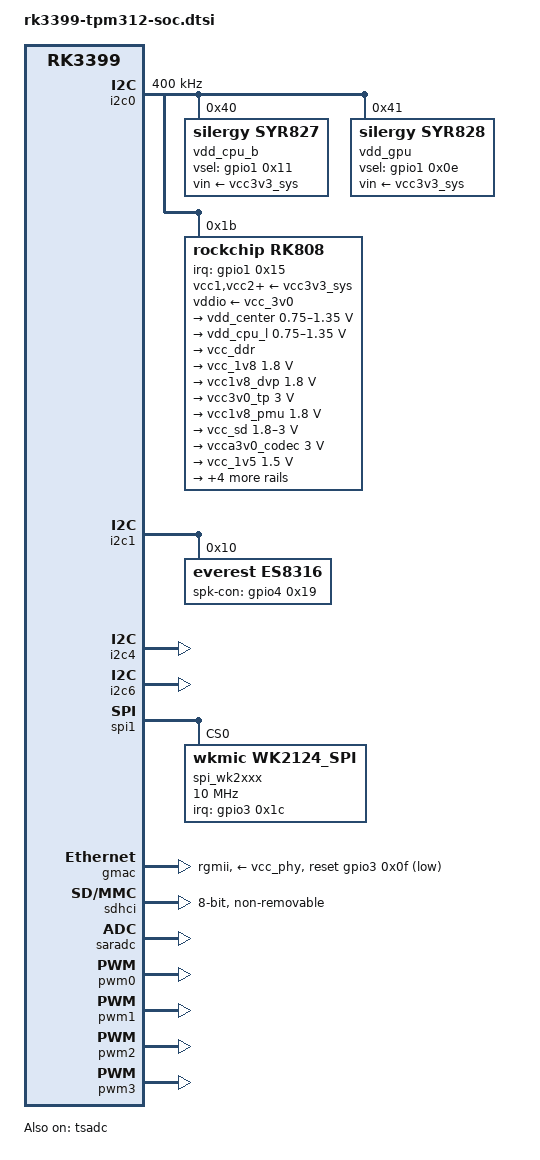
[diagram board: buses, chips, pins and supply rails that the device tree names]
/* Converted from production firmware DTB /i2c@ff3c0000 */
&i2c0 {
	pinctrl-names = "default";
	pinctrl-0 = <&i2c0_xfer>;
	#address-cells = <0x01>;
	#size-cells = <0x00>;
	status = "okay";
	i2c-scl-rising-time-ns = <0xa8>;
	i2c-scl-falling-time-ns = <0x04>;
	clock-frequency = <0x61a80>;
	vdd_cpu_b: syr827@40 {
		compatible = "silergy,syr827";
		reg = <0x40>;
		pinctrl-names = "default";
		pinctrl-0 = <&vsel1_pin>;
		vsel-gpios = <&gpio1 0x11 0x00>;
		regulator-name = "vdd_cpu_b";
		regulator-min-microvolt = <0xadf34>;
		regulator-max-microvolt = <0x16e360>;
		regulator-ramp-delay = <0x3e8>;
		fcs,suspend-voltage-selector = <0x01>;
		regulator-always-on;
		regulator-boot-on;
		vin-supply = <&vcc3v3_sys>;
		regulator-initial-state = <0x03>;
		regulator-state-mem {
			regulator-off-in-suspend;
		};
	};
	vdd_gpu: syr828@41 {
		compatible = "silergy,syr828";
		reg = <0x41>;
		pinctrl-names = "default";
		pinctrl-0 = <&vsel2_pin>;
		vsel-gpios = <&gpio1 0x0e 0x00>;
		regulator-name = "vdd_gpu";
		regulator-min-microvolt = <0xadf34>;
		regulator-max-microvolt = <0x16e360>;
		regulator-ramp-delay = <0x3e8>;
		fcs,suspend-voltage-selector = <0x01>;
		regulator-always-on;
		regulator-boot-on;
		vin-supply = <&vcc3v3_sys>;
		regulator-initial-state = <0x03>;
		regulator-state-mem {
			regulator-off-in-suspend;
		};
	};
	rk808: pmic@1b {
		compatible = "rockchip,rk808";
		reg = <0x1b>;
		interrupt-parent = <&gpio1>;
		interrupts = <0x15 0x08>;
		pinctrl-names = "default";
		pinctrl-0 = <&pmic_int_l &pmic_dvs2>;
		rockchip,system-power-controller;
		wakeup-source;
		#clock-cells = <0x01>;
		clock-output-names = "xin32k", "rk808-clkout2";
		vcc1-supply = <&vcc3v3_sys>;
		vcc2-supply = <&vcc3v3_sys>;
		vcc3-supply = <&vcc3v3_sys>;
		vcc4-supply = <&vcc3v3_sys>;
		vcc6-supply = <&vcc3v3_sys>;
		vcc7-supply = <&vcc3v3_sys>;
		vcc8-supply = <&vcc3v3_sys>;
		vcc9-supply = <&vcc3v3_sys>;
		vcc10-supply = <&vcc3v3_sys>;
		vcc11-supply = <&vcc3v3_sys>;
		vcc12-supply = <&vcc3v3_sys>;
		vddio-supply = <&vcc_3v0>;
		regulators {
			vdd_center: DCDC_REG1 {
				regulator-name = "vdd_center";
				regulator-min-microvolt = <0xb71b0>;
				regulator-max-microvolt = <0x149970>;
				regulator-ramp-delay = <0x1771>;
				regulator-always-on;
				regulator-boot-on;
				regulator-state-mem {
					regulator-off-in-suspend;
				};
			};
			vdd_cpu_l: DCDC_REG2 {
				regulator-name = "vdd_cpu_l";
				regulator-min-microvolt = <0xb71b0>;
				regulator-max-microvolt = <0x149970>;
				regulator-ramp-delay = <0x1771>;
				regulator-always-on;
				regulator-boot-on;
				regulator-state-mem {
					regulator-off-in-suspend;
				};
			};
			vcc_ddr: DCDC_REG3 {
				regulator-name = "vcc_ddr";
				regulator-always-on;
				regulator-boot-on;
				regulator-state-mem {
					regulator-on-in-suspend;
				};
			};
			vcc_1v8: DCDC_REG4 {
				regulator-name = "vcc_1v8";
				regulator-min-microvolt = <0x1b7740>;
				regulator-max-microvolt = <0x1b7740>;
				regulator-always-on;
				regulator-boot-on;
				regulator-state-mem {
					regulator-on-in-suspend;
					regulator-suspend-microvolt = <0x1b7740>;
				};
			};
			vcc1v8_dvp: LDO_REG1 {
				regulator-name = "vcc1v8_dvp";
				regulator-min-microvolt = <0x1b7740>;
				regulator-max-microvolt = <0x1b7740>;
				regulator-always-on;
				regulator-boot-on;
				regulator-state-mem {
					regulator-on-in-suspend;
				};
			};
			vcc3v0_tp: LDO_REG2 {
				regulator-name = "vcc3v0_tp";
				regulator-min-microvolt = <0x2dc6c0>;
				regulator-max-microvolt = <0x2dc6c0>;
				regulator-always-on;
				regulator-boot-on;
				regulator-state-mem {
					regulator-off-in-suspend;
				};
			};
			vcc1v8_pmu: LDO_REG3 {
				regulator-name = "vcc1v8_pmu";
				regulator-min-microvolt = <0x1b7740>;
				regulator-max-microvolt = <0x1b7740>;
				regulator-always-on;
				regulator-boot-on;
				regulator-state-mem {
					regulator-on-in-suspend;
					regulator-suspend-microvolt = <0x1b7740>;
				};
			};
			vcc_sd: LDO_REG4 {
				regulator-name = "vcc_sd";
				regulator-min-microvolt = <0x1b7740>;
				regulator-max-microvolt = <0x2dc6c0>;
				regulator-always-on;
				regulator-boot-on;
				regulator-state-mem {
					regulator-on-in-suspend;
					regulator-suspend-microvolt = <0x2dc6c0>;
				};
			};
			vcca3v0_codec: LDO_REG5 {
				regulator-name = "vcca3v0_codec";
				regulator-min-microvolt = <0x2dc6c0>;
				regulator-max-microvolt = <0x2dc6c0>;
				regulator-always-on;
				regulator-boot-on;
				regulator-state-mem {
					regulator-off-in-suspend;
				};
			};
			vcc_1v5: LDO_REG6 {
				regulator-name = "vcc_1v5";
				regulator-min-microvolt = <0x16e360>;
				regulator-max-microvolt = <0x16e360>;
				regulator-always-on;
				regulator-boot-on;
				regulator-state-mem {
					regulator-on-in-suspend;
					regulator-suspend-microvolt = <0x16e360>;
				};
			};
			vcca1v8_codec: LDO_REG7 {
				regulator-name = "vcca1v8_codec";
				regulator-min-microvolt = <0x1b7740>;
				regulator-max-microvolt = <0x1b7740>;
				regulator-always-on;
				regulator-boot-on;
				regulator-state-mem {
					regulator-off-in-suspend;
				};
			};
			vcc_3v0: LDO_REG8 {
				regulator-name = "vcc_3v0";
				regulator-min-microvolt = <0x2dc6c0>;
				regulator-max-microvolt = <0x2dc6c0>;
				regulator-always-on;
				regulator-boot-on;
				regulator-state-mem {
					regulator-on-in-suspend;
					regulator-suspend-microvolt = <0x2dc6c0>;
				};
			};
			vcc3v3_s3: SWITCH_REG1 {
				regulator-name = "vcc3v3_s3";
				regulator-always-on;
				regulator-boot-on;
				regulator-state-mem {
					regulator-off-in-suspend;
				};
			};
			vcc3v3_s0: SWITCH_REG2 {
				regulator-name = "vcc3v3_s0";
				regulator-always-on;
				regulator-boot-on;
				regulator-state-mem {
					regulator-off-in-suspend;
				};
			};
		};
		rtc {
			rkrtc: rk808-rtc {
				status = "okay";
			};
		};
	};
};

/* Converted from production firmware DTB /i2c@ff110000 */
&i2c1 {
	pinctrl-names = "default";
	pinctrl-0 = <&i2c1_xfer>;
	#address-cells = <0x01>;
	#size-cells = <0x00>;
	status = "okay";
	i2c-scl-rising-time-ns = <0x12c>;
	i2c-scl-falling-time-ns = <0x0f>;
	es8316: codec@10 {
		#sound-dai-cells = <0x00>;
		compatible = "everest,es8316";
		reg = <0x10>;
		clocks = <&cru 0x59>;
		clock-names = "mclk";
		pinctrl-names = "default";
		pinctrl-0 = <&i2s_8ch_mclk>;
		spk-con-gpio = <&gpio4 0x19 0x00>;
	};
};

/* Converted from production firmware DTB /i2c@ff3d0000 */
&i2c4 {
	pinctrl-names = "default";
	pinctrl-0 = <&i2c4_xfer>;
	#address-cells = <0x01>;
	#size-cells = <0x00>;
	status = "okay";
	i2c-scl-rising-time-ns = <0x258>;
	i2c-scl-falling-time-ns = <0x14>;
	mpu6500@68 {
		status = "disabled";
		compatible = "invensense,mpu6500";
		reg = <0x68>;
		irq-gpio = <&gpio1 0x16 0x01>;
		mpu-int_config = <0x10>;
		mpu-level_shifter = <0x00>;
		mpu-orientation = <0x00 0x01 0x00 0x01 0x00 0x00 0x00 0x00 0x01>;
		orientation-x = <0x01>;
		orientation-y = <0x00>;
		orientation-z = <0x00>;
		mpu-debug = <0x01>;
	};
};

/* Converted from production firmware DTB /i2c@ff150000 */
&i2c6 {
	pinctrl-names = "default";
	pinctrl-0 = <&i2c6_xfer>;
	#address-cells = <0x01>;
	#size-cells = <0x00>;
	status = "okay";
};

/* Converted from production firmware DTB /i2c@ff3e0000
 * Disabled: i2c8 uses GPIO1_C4/C5 (i2c8_xfer) and GPIO1_C5 is the rk808
 * PMIC interrupt line (see &i2c0/rk808). The touch panel is not used on
 * this box, so keep the bus off to leave C5 to the PMIC. */
&i2c8 {
	pinctrl-names = "default";
	pinctrl-0 = <&i2c8_xfer>;
	#address-cells = <0x01>;
	#size-cells = <0x00>;
	status = "disabled";
	ilitek@41 {
		compatible = "tchip,ilitek";
		reg = <0x41>;
		vdd-supply = <&vcc3v0_tp>;
		vcc_i2c-supply = <&vcc_3v0>;
		ilitek,irq-gpio = <&gpio1 0x12 0x00>;
		ilitek,reset-gpio = <&gpio1 0x18 0x00>;
		ilitek,vbus = "vcc_i2c";
		ilitek,vdd = "vdd";
		ilitek,name = "ilitek_i2c";
	};
};

/* Converted from production firmware DTB /spi@ff1d0000 */
&spi1 {
	pinctrl-names = "default";
	pinctrl-0 = <&spi1_clk &spi1_tx &spi1_rx &spi1_cs0>;
	#address-cells = <0x01>;
	#size-cells = <0x00>;
	status = "okay";
	max-freq = <0x2dc6c00>;
	spi_wk2xxx@0 {
		status = "okay";
		compatible = "wkmic,wk2124_spi";
		reg = <0x00>;
		spi-max-frequency = <0x989680>;
		poll_mode = <0x00>;
		type = <0x00>;
		enable_dma = <0x00>;
		irq-gpio = <&gpio3 0x1c 0x04>;
		pinctrl-names = "default";
		pinctrl-0 = <&wk2_irq>;
	};
};

/* Converted from production firmware DTB /ethernet@fe300000 */
&gmac {
	status = "okay";
	assigned-clocks = <&cru 0xa6>;
	assigned-clock-parents = <&clkin_gmac>;
	clock_in_out = "input";
	phy-supply = <&vcc_phy>;
	phy-mode = "rgmii";
	pinctrl-names = "default";
	pinctrl-0 = <&rgmii_pins>;
	snps,reset-gpio = <&gpio3 0x0f 0x01>;
	snps,reset-active-low;
	snps,reset-delays-us = <0x00 0x2710 0xc350>;
	tx_delay = <0x28>;
	rx_delay = <0x11>;
};

/* Converted from production firmware DTB /sdhci@fe330000 */
&sdhci {
	assigned-clocks = <&cru 0x4e>;
	assigned-clock-rates = <0xbebc200>;
	status = "okay";
	assigned-clock-parents = <&cru 0x05>;
	bus-width = <0x08>;
	mmc-hs400-1_8v;
	mmc-hs400-enhanced-strobe;
	supports-emmc;
	non-removable;
	keep-power-in-suspend;
};

/* Converted from production firmware DTB /saradc@ff100000 */
&saradc {
	#io-channel-cells = <0x01>;
	status = "okay";
};

/* Converted from production firmware DTB /tsadc@ff260000 */
&tsadc {
	assigned-clocks = <&cru 0x4f>;
	assigned-clock-rates = <0xb71b0>;
	rockchip,hw-tshut-temp = <0x1adb0>;
	pinctrl-names = "gpio", "otpout";
	pinctrl-0 = <&otp_gpio>;
	pinctrl-1 = <&otp_out>;
	#thermal-sensor-cells = <0x01>;
	status = "okay";
	rockchip,hw-tshut-mode = <0x01>;
	rockchip,hw-tshut-polarity = <0x01>;
};

/* Converted from production firmware DTB /pwm@ff420000 */
&pwm0 {
	#pwm-cells = <0x03>;
	pinctrl-names = "active";
	pinctrl-0 = <&pwm0_pin>;
	status = "okay";
};

/* Converted from production firmware DTB /pwm@ff420010 */
&pwm1 {
	#pwm-cells = <0x03>;
	pinctrl-names = "active";
	pinctrl-0 = <&pwm1_pin>;
	status = "okay";
};

/* Converted from production firmware DTB /pwm@ff420020 */
&pwm2 {
	#pwm-cells = <0x03>;
	pinctrl-names = "active";
	pinctrl-0 = <&pwm2_pin>;
	status = "okay";
};

/* Converted from production firmware DTB /pwm@ff420030 */
&pwm3 {
	#pwm-cells = <0x03>;
	pinctrl-names = "active";
	pinctrl-0 = <&pwm3a_pin>;
	status = "okay";
};
